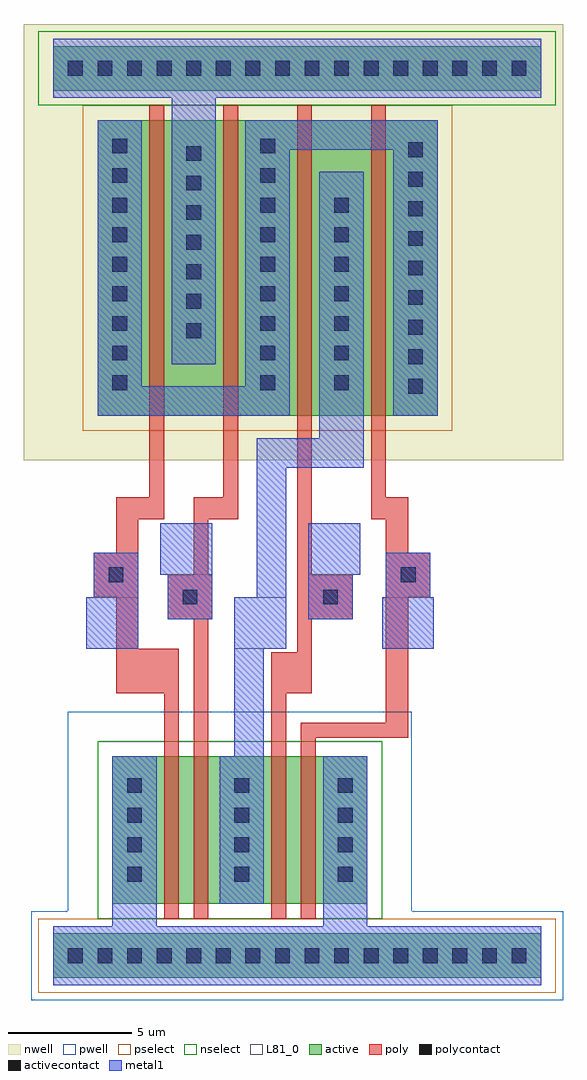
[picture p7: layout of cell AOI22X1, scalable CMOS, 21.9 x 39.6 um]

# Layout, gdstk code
import gdstk
lib = gdstk.Library(unit=1e-6, precision=1e-09)
def R(c, l, rs):  # rectangles x0, y0, x1, y1
    for r in rs: c.add(gdstk.rectangle(r[:2], r[2:], *l))
def A(c, l, x, y, w, h, nx, ny, dx, dy):  # array of equal rectangles
    R(c, l, [(x+i*dx, y+j*dy, x+i*dx+w, y+j*dy+h) for i in range(nx) for j in range(ny)])
pwell = (41, 0)
nwell = (42, 0)
active = (43, 0)
pselect = (44, 0)
nselect = (45, 0)
poly = (46, 0)
polycontact = (47, 0)
activecontact = (48, 0)
metal1 = (49, 0)
L81_0 = (81, 0)

aoi22x1 = lib.new_cell('AOI22X1')
R(aoi22x1, pwell, [(-1.8,-1.8,19.8,1.8), (-0.3,1.8,13.65,9.9)])
R(aoi22x1, nwell, [(-2.1,20.1,19.8,37.8)])
R(aoi22x1, active, [(-0.9,-0.9,18.9,0.9), (1.5,2.1,11.85,8.1), (0.9,21.9,14.7,33.9), (-0.9,35.1,18.9,36.9)])
R(aoi22x1, pselect, [(-1.5,-1.5,19.5,1.5), (0.3,21.3,15.3,34.5)])
R(aoi22x1, nselect, [(0.9,1.5,12.45,8.7), (-1.5,34.5,19.5,37.5)])
R(aoi22x1, poly, [(3.6,1.5,4.2,10.65), (4.8,1.5,5.4,13.65), (7.95,1.5,8.55,10.65), (9.15,1.5,9.75,8.85), (9.15,8.85,13.5,9.45), (12.6,9.45,13.5,14.55), (1.65,10.65,4.2,12.45), (7.95,10.65,9.6,12.3), (9,12.3,9.6,13.65), (1.65,12.45,2.55,14.55), (3.75,13.65,5.55,15.45), (9,13.65,11.25,15.45), (0.75,14.55,2.55,16.35), (12.6,14.55,14.4,16.35), (4.8,15.45,5.4,17.7), (9,15.45,9.6,34.5), (1.65,16.35,2.55,17.7), (12.6,16.35,13.5,17.7), (1.65,17.7,3.6,18.6), (4.8,17.7,6.6,18.6), (12,17.7,13.5,18.6), (3,18.6,3.6,34.5), (6,18.6,6.6,34.5), (12,18.6,12.6,34.5)])
R(aoi22x1, polycontact, [(4.35,14.25,4.95,14.85), (10.05,14.25,10.65,14.85), (1.35,15.15,1.95,15.75), (13.2,15.15,13.8,15.75)])
A(aoi22x1, activecontact, -0.3, -0.3, 0.6, 0.6, 16, 2, 1.2, 36)
A(aoi22x1, activecontact, 2.1, 3, 0.6, 0.6, 1, 4, 0, 1.2)
A(aoi22x1, activecontact, 6.45, 3, 0.6, 0.6, 1, 4, 0, 1.2)
A(aoi22x1, activecontact, 10.65, 3, 0.6, 0.6, 1, 4, 0, 1.2)
A(aoi22x1, activecontact, 13.5, 22.8, 0.6, 0.6, 1, 9, 0, 1.2)
A(aoi22x1, activecontact, 1.5, 22.95, 0.6, 0.6, 1, 9, 0, 1.2)
A(aoi22x1, activecontact, 7.5, 22.95, 0.6, 0.6, 1, 9, 0, 1.2)
A(aoi22x1, activecontact, 10.5, 22.95, 0.6, 0.6, 1, 7, 0, 1.2)
A(aoi22x1, activecontact, 4.5, 25.05, 0.6, 0.6, 1, 7, 0, 1.2)
A(aoi22x1, metal1, 0.45, 12.45, 2.1, 2.1, 3, 1, 6, 0)
R(aoi22x1, metal1, [(-0.9,-1.2,18.9,1.2), (1.5,1.2,3.3,8.1), (10.05,1.2,11.85,8.1), (5.85,2.1,7.65,8.1), (6.45,8.1,7.65,12.45), (3.75,13.65,5.55,15.45), (9.45,13.65,11.25,15.45), (0.75,14.55,2.55,16.35), (7.35,14.55,8.55,19.8), (12.6,14.55,14.4,16.35), (3.45,15.45,5.55,17.55), (9.45,15.45,11.55,17.55), (7.35,19.8,11.7,21), (9.9,21,11.7,31.8), (0.9,21.9,8.7,23.1), (12.9,21.9,14.7,32.7), (0.9,23.1,2.7,33.9), (6.9,23.1,8.7,32.7), (3.9,24,5.7,34.8), (6.9,32.7,14.7,33.9), (-0.9,34.8,18.9,37.2)])
A(aoi22x1, L81_0, 0.45, 12.45, 2.1, 2.1, 3, 1, 6, 0)
R(aoi22x1, L81_0, [(3.45,15.45,5.55,17.55), (9.45,15.45,11.55,17.55)])

lib.write_gds('AOI22X1.gds')
